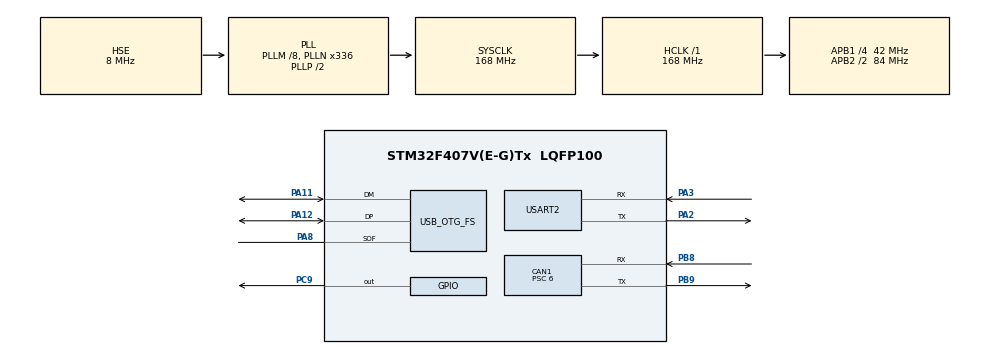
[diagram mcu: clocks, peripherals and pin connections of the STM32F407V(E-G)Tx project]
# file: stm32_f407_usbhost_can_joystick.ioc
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CAN1.ABOM=ENABLE
CAN1.AWUM=ENABLE
CAN1.BS1=CAN_BS1_11TQ
CAN1.BS2=CAN_BS2_2TQ
CAN1.CalculateBaudRate=500000
CAN1.CalculateTimeBit=2000
CAN1.CalculateTimeQuantum=142.85714285714286
CAN1.NART=ENABLE
CAN1.Prescaler=6
CAN1.SJW=CAN_SJW_1TQ
Mcu.Family=STM32F4
Mcu.Name=STM32F407V(E-G)Tx
Mcu.Package=LQFP100
NVIC.CAN1_RX0_IRQn=true\:0\:0\:false\:false\:true\:true\:true\:true
NVIC.OTG_FS_IRQn=true\:0\:0\:false\:false\:true\:true\:true\:true
NVIC.PriorityGroup=NVIC_PRIORITYGROUP_0
NVIC.USART2_IRQn=true\:0\:0\:false\:false\:true\:true\:true\:true
PA11.Mode=Host_Only
PA11.Signal=USB_OTG_FS_DM
PA12.Mode=Host_Only
PA12.Signal=USB_OTG_FS_DP
PA13.Mode=Serial_Wire
PA13.Signal=SYS_JTMS-SWDIO
PA14.Mode=Serial_Wire
PA14.Signal=SYS_JTCK-SWCLK
PA2.Mode=Asynchronous
PA2.Signal=USART2_TX
PA3.Mode=Asynchronous
PA3.Signal=USART2_RX
PA8.Mode=Activate_SOF_FS
PA8.Signal=USB_OTG_FS_SOF
PB8.Mode=CAN_Activate
PB8.Signal=CAN1_RX
PB9.Mode=CAN_Activate
PB9.Signal=CAN1_TX
PC9.Signal=GPIO_Output
PH0-OSC_IN.Mode=HSE-External-Oscillator
PH0-OSC_IN.Signal=RCC_OSC_IN
PH1-OSC_OUT.Mode=HSE-External-Oscillator
PH1-OSC_OUT.Signal=RCC_OSC_OUT
ProjectManager.HeapSize=0x200
ProjectManager.StackSize=0x400
ProjectManager.TargetToolchain=STM32CubeIDE
RCC.48MHZClocksFreq_Value=48000000
RCC.AHBFreq_Value=168000000
RCC.APB1CLKDivider=RCC_HCLK_DIV4
RCC.APB1Freq_Value=42000000
RCC.APB1TimFreq_Value=84000000
RCC.APB2CLKDivider=RCC_HCLK_DIV2
RCC.APB2Freq_Value=84000000
RCC.APB2TimFreq_Value=168000000
RCC.CortexFreq_Value=168000000
RCC.HCLKFreq_Value=168000000
RCC.HSE_VALUE=8000000
RCC.HSI_VALUE=16000000
RCC.LSE_VALUE=32768
RCC.PLLM=8
RCC.PLLN=336
RCC.PLLQ=7
RCC.SYSCLKFreq_VALUE=168000000
RCC.SYSCLKSource=RCC_SYSCLKSOURCE_PLLCLK
RCC.VCOOutputFreq_Value=336000000
USART2.VirtualMode=VM_ASYNC
USB_HOST.BSP.number=1
USB_HOST.USBH_HandleTypeDef-HID_FS=hUsbHostFS
USB_HOST.VirtualModeFS=Hid
USB_HOST0.BSP.STBoard=false
USB_HOST0.BSP.api=Unknown
USB_HOST0.BSP.condition=SW_VBUS_DRIVE_HID_FS \= false
USB_HOST0.BSP.instance=PC9
USB_HOST0.BSP.ip=GPIO
USB_HOST0.BSP.mode=Output
USB_HOST0.BSP.name=Drive_VBUS_FS
USB_HOST0.BSP.solution=PC9
USB_OTG_FS.VirtualMode=Host_Only
USB_OTG_FS.phy_itface=HCD_PHY_EMBEDDED
VP_USB_HOST_VS_USB_HOST_HID_FS.Mode=HID_FS
board=STM32F407G-DISC1

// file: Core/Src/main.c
/* USER CODE BEGIN Header */
/**
  ******************************************************************************
  * @file           : main.c
  * @brief          : Main program body
  ******************************************************************************
  * @attention
  *
  * Copyright (c) 2023 STMicroelectronics.
  * All rights reserved.
  *
  * This software is licensed under terms that can be found in the LICENSE file
  * in the root directory of this software component.
  * If no LICENSE file comes with this software, it is provided AS-IS.
  *
  ******************************************************************************
  */
/* USER CODE END Header */
#include "main.h"
#include "usb_host.h"

/* USER CODE BEGIN Includes */
#include "../../App/joystick_translator_app.h"
#include "../../App/joystick_uart_trace.h"
/* USER CODE END Includes */

CAN_HandleTypeDef hcan1;

UART_HandleTypeDef huart2;

/* USER CODE BEGIN PV */
extern ApplicationTypeDef Appli_state;
extern USBH_HandleTypeDef hUsbHostFS;
/* USER CODE END PV */

void SystemClock_Config(void);
static void MX_GPIO_Init(void);
static void MX_USART2_UART_Init(void);
static void MX_CAN1_Init(void);
void MX_USB_HOST_Process(void);

int main(void)
{

  /* MCU Configuration--------------------------------------------------------*/

  /* Reset of all peripherals, Initializes the Flash interface and the Systick. */
  HAL_Init();

  /* USER CODE BEGIN Init */
  MX_USART2_UART_Init();
  joystick_translator_app_bind_uart(&huart2);
  JOYSTICK_TRACE_PRINTF("UART early HSI\r\n");

  /* USER CODE END Init */

  /* Configure the system clock */
  SystemClock_Config();

  /* USER CODE BEGIN SysInit */
  /* APB1 changed from HSI to PLL. Update BRR before sending startup diagnostics. */
  MX_USART2_UART_Init();
  JOYSTICK_TRACE_PRINTF("Clock config done\r\n");

  /* USER CODE END SysInit */

  /* Initialize all configured peripherals */
  MX_GPIO_Init();
  JOYSTICK_TRACE_PRINTF("GPIO init OK\r\n");
  MX_USB_HOST_Init();
  JOYSTICK_TRACE_PRINTF("USB host init OK\r\n");
  MX_USART2_UART_Init();
  JOYSTICK_TRACE_PRINTF("UART re-init OK\r\n");
  MX_CAN1_Init();
  JOYSTICK_TRACE_PRINTF("CAN init OK\r\n");
  /* USER CODE BEGIN 2 */
  joystick_translator_app_init(&hcan1,
                               &huart2,
                               &hUsbHostFS,
                               Appli_state,
                               HAL_GetTick());
  /* USER CODE END 2 */

  /* Infinite loop */
  while (1)
  {
    MX_USB_HOST_Process();

    /* USER CODE BEGIN 3 */
    joystick_translator_app_run(HAL_GetTick(), Appli_state);
  }
  /* USER CODE END 3 */
}

void SystemClock_Config(void)
{
  RCC_OscInitTypeDef RCC_OscInitStruct = {0};
  RCC_ClkInitTypeDef RCC_ClkInitStruct = {0};

  /** Configure the main internal regulator output voltage
  */
  __HAL_RCC_PWR_CLK_ENABLE();
  __HAL_PWR_VOLTAGESCALING_CONFIG(PWR_REGULATOR_VOLTAGE_SCALE1);

  /** Initializes the RCC Oscillators according to the specified parameters
  * in the RCC_OscInitTypeDef structure.
  */
  RCC_OscInitStruct.OscillatorType = RCC_OSCILLATORTYPE_HSE;
  RCC_OscInitStruct.HSEState = RCC_HSE_ON;
  RCC_OscInitStruct.PLL.PLLState = RCC_PLL_ON;
  RCC_OscInitStruct.PLL.PLLSource = RCC_PLLSOURCE_HSE;
  RCC_OscInitStruct.PLL.PLLM = 8;
  RCC_OscInitStruct.PLL.PLLN = 336;
  RCC_OscInitStruct.PLL.PLLP = RCC_PLLP_DIV2;
  RCC_OscInitStruct.PLL.PLLQ = 7;
  if (HAL_RCC_OscConfig(&RCC_OscInitStruct) != HAL_OK)
  {
    if ((SCB->ICSR & SCB_ICSR_VECTACTIVE_Msk) == 0U) {
      HAL_UART_Transmit(&huart2, (uint8_t *)"CLOCK osc fail\r\n", 16U, 100U);
    }
    return;
  }

  /** Initializes the CPU, AHB and APB buses clocks
  */
  RCC_ClkInitStruct.ClockType = RCC_CLOCKTYPE_HCLK|RCC_CLOCKTYPE_SYSCLK
                              |RCC_CLOCKTYPE_PCLK1|RCC_CLOCKTYPE_PCLK2;
  RCC_ClkInitStruct.SYSCLKSource = RCC_SYSCLKSOURCE_PLLCLK;
  RCC_ClkInitStruct.AHBCLKDivider = RCC_SYSCLK_DIV1;
  RCC_ClkInitStruct.APB1CLKDivider = RCC_HCLK_DIV4;
  RCC_ClkInitStruct.APB2CLKDivider = RCC_HCLK_DIV2;

  if (HAL_RCC_ClockConfig(&RCC_ClkInitStruct, FLASH_LATENCY_5) != HAL_OK)
  {
    if ((SCB->ICSR & SCB_ICSR_VECTACTIVE_Msk) == 0U) {
      HAL_UART_Transmit(&huart2, (uint8_t *)"CLOCK cfg fail\r\n", 16U, 100U);
    }
    return;
  }
}

static void MX_CAN1_Init(void)
{

  hcan1.Instance = CAN1;
  hcan1.Init.Prescaler = 6;
  hcan1.Init.Mode = CAN_MODE_NORMAL;
  hcan1.Init.SyncJumpWidth = CAN_SJW_1TQ;
  hcan1.Init.TimeSeg1 = CAN_BS1_11TQ;
  hcan1.Init.TimeSeg2 = CAN_BS2_2TQ;
  hcan1.Init.TimeTriggeredMode = DISABLE;
  hcan1.Init.AutoBusOff = ENABLE;
  hcan1.Init.AutoWakeUp = ENABLE;
  hcan1.Init.AutoRetransmission = ENABLE;
  hcan1.Init.ReceiveFifoLocked = DISABLE;
  hcan1.Init.TransmitFifoPriority = DISABLE;
  if (HAL_CAN_Init(&hcan1) != HAL_OK)
  {
    Error_Handler();
  }

}

static void MX_USART2_UART_Init(void)
{

  huart2.Instance = USART2;
  huart2.Init.BaudRate = 115200;
  huart2.Init.WordLength = UART_WORDLENGTH_8B;
  huart2.Init.StopBits = UART_STOPBITS_1;
  huart2.Init.Parity = UART_PARITY_NONE;
  huart2.Init.Mode = UART_MODE_TX_RX;
  huart2.Init.HwFlowCtl = UART_HWCONTROL_NONE;
  huart2.Init.OverSampling = UART_OVERSAMPLING_16;
  if (HAL_UART_Init(&huart2) != HAL_OK)
  {
    Error_Handler();
  }

}

static void MX_GPIO_Init(void)
{
  GPIO_InitTypeDef GPIO_InitStruct = {0};

  /* GPIO Ports Clock Enable */
  __HAL_RCC_GPIOH_CLK_ENABLE();
  __HAL_RCC_GPIOA_CLK_ENABLE();
  __HAL_RCC_GPIOC_CLK_ENABLE();
  __HAL_RCC_GPIOB_CLK_ENABLE();

  /*Configure GPIO pin Output Level */
  HAL_GPIO_WritePin(GPIOC, GPIO_PIN_9, GPIO_PIN_RESET);

  /*Configure GPIO pin : PC9 */
  GPIO_InitStruct.Pin = GPIO_PIN_9;
  GPIO_InitStruct.Mode = GPIO_MODE_OUTPUT_PP;
  GPIO_InitStruct.Pull = GPIO_NOPULL;
  GPIO_InitStruct.Speed = GPIO_SPEED_FREQ_LOW;
  HAL_GPIO_Init(GPIOC, &GPIO_InitStruct);

}

/* USER CODE BEGIN 4 */
void HAL_CAN_RxFifo0MsgPendingCallback(CAN_HandleTypeDef *hcan)
{
  joystick_translator_app_on_can_rx_pending(hcan);
}

/* USER CODE END 4 */

void Error_Handler(void)
{
  /* USER CODE BEGIN Error_Handler_Debug */
  /* User can add his own implementation to report the HAL error return state */
  if ((SCB->ICSR & SCB_ICSR_VECTACTIVE_Msk) == 0U) {
    HAL_UART_Transmit(&huart2, (uint8_t *)"ERROR handler\r\n", 15U, 100U);
  }
  __disable_irq();
  while (1)
  {
  }
  /* USER CODE END Error_Handler_Debug */
}
